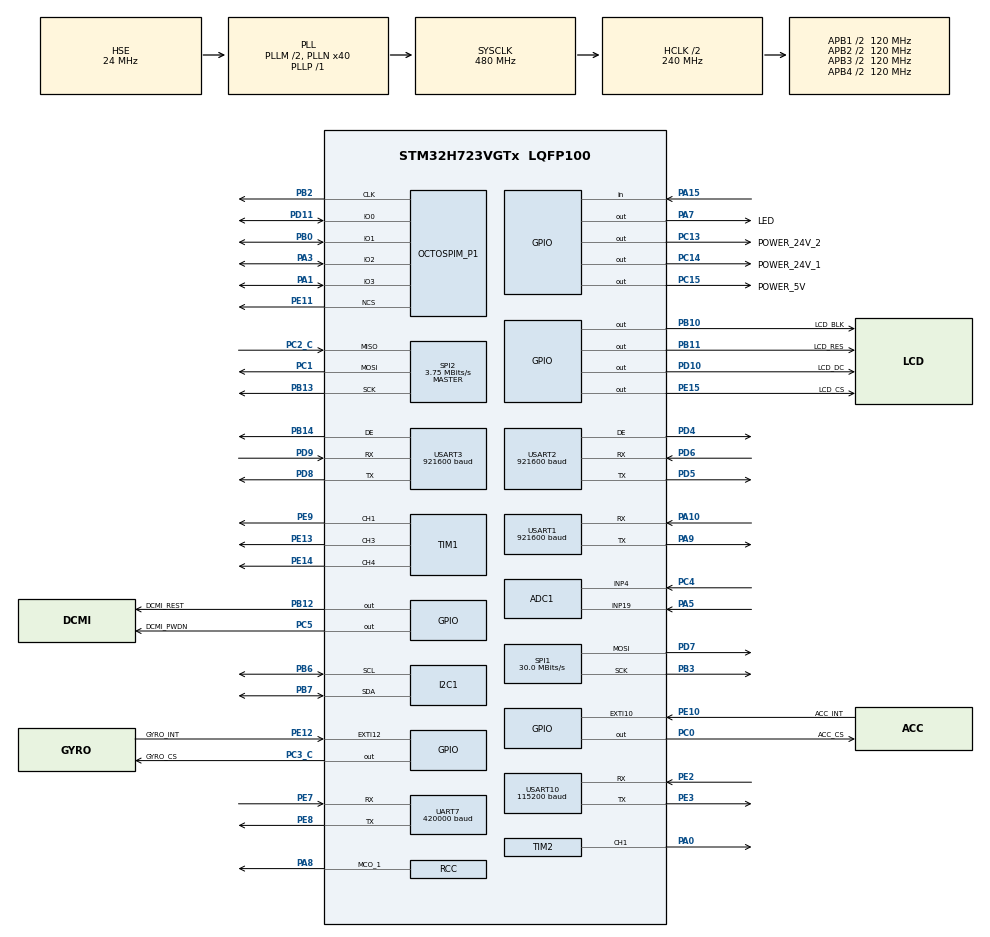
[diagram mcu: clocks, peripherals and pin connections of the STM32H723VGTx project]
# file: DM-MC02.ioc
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ADC1.Channel-0\#ChannelRegularConversion=ADC_CHANNEL_19
ADC1.NbrOfConversionFlag=1
ADC1.OffsetNumber-0\#ChannelRegularConversion=ADC_OFFSET_NONE
ADC1.OffsetSignedSaturation-0\#ChannelRegularConversion=DISABLE
ADC1.Rank-0\#ChannelRegularConversion=1
ADC1.SamplingTime-0\#ChannelRegularConversion=ADC_SAMPLETIME_1CYCLE_5
ADC1.master=1
CORTEX_M7.BaseAddress-Cortex_Memory_Protection_Unit_Region0_Settings=0x24000000
CORTEX_M7.CPU_DCache=Disabled
CORTEX_M7.CPU_ICache=Disabled
CORTEX_M7.Enable-Cortex_Memory_Protection_Unit_Region0_Settings=MPU_REGION_ENABLE
CORTEX_M7.IsBufferable-Cortex_Memory_Protection_Unit_Region0_Settings=MPU_ACCESS_BUFFERABLE
CORTEX_M7.IsCacheable-Cortex_Memory_Protection_Unit_Region0_Settings=MPU_ACCESS_CACHEABLE
CORTEX_M7.MPU_Control=__NULL
CORTEX_M7.Size-Cortex_Memory_Protection_Unit_Region0_Settings=MPU_REGION_SIZE_512B
CORTEX_M7.TypeExtField-Cortex_Memory_Protection_Unit_Region0_Settings=MPU_TEX_LEVEL1
Dma.ADC1.3.Direction=DMA_PERIPH_TO_MEMORY
Dma.ADC1.3.EventEnable=DISABLE
Dma.ADC1.3.FIFOMode=DMA_FIFOMODE_DISABLE
Dma.ADC1.3.Instance=DMA1_Stream0
Dma.ADC1.3.MemDataAlignment=DMA_MDATAALIGN_HALFWORD
Dma.ADC1.3.MemInc=DMA_MINC_ENABLE
Dma.ADC1.3.Mode=DMA_CIRCULAR
Dma.ADC1.3.PeriphDataAlignment=DMA_PDATAALIGN_HALFWORD
Dma.ADC1.3.PeriphInc=DMA_PINC_DISABLE
Dma.ADC1.3.Polarity=HAL_DMAMUX_REQ_GEN_RISING
Dma.ADC1.3.Priority=DMA_PRIORITY_LOW
Dma.ADC1.3.RequestNumber=1
Dma.ADC1.3.SignalID=NONE
Dma.ADC1.3.SyncEnable=DISABLE
Dma.ADC1.3.SyncPolarity=HAL_DMAMUX_SYNC_NO_EVENT
Dma.ADC1.3.SyncRequestNumber=1
Dma.ADC1.3.SyncSignalID=NONE
Dma.Request0=UART7_RX
Dma.Request1=USART2_RX
Dma.Request2=USART3_RX
Dma.Request3=ADC1
Dma.UART7_RX.0.Direction=DMA_PERIPH_TO_MEMORY
Dma.UART7_RX.0.EventEnable=DISABLE
Dma.UART7_RX.0.FIFOMode=DMA_FIFOMODE_DISABLE
Dma.UART7_RX.0.Instance=DMA1_Stream1
Dma.UART7_RX.0.MemDataAlignment=DMA_MDATAALIGN_BYTE
Dma.UART7_RX.0.MemInc=DMA_MINC_ENABLE
Dma.UART7_RX.0.Mode=DMA_CIRCULAR
Dma.UART7_RX.0.PeriphDataAlignment=DMA_PDATAALIGN_BYTE
Dma.UART7_RX.0.PeriphInc=DMA_PINC_DISABLE
Dma.UART7_RX.0.Polarity=HAL_DMAMUX_REQ_GEN_RISING
Dma.UART7_RX.0.Priority=DMA_PRIORITY_LOW
Dma.UART7_RX.0.RequestNumber=1
Dma.UART7_RX.0.SignalID=NONE
Dma.UART7_RX.0.SyncEnable=DISABLE
Dma.UART7_RX.0.SyncPolarity=HAL_DMAMUX_SYNC_NO_EVENT
Dma.UART7_RX.0.SyncRequestNumber=1
Dma.UART7_RX.0.SyncSignalID=NONE
Dma.USART2_RX.1.Direction=DMA_PERIPH_TO_MEMORY
Dma.USART2_RX.1.EventEnable=DISABLE
Dma.USART2_RX.1.FIFOMode=DMA_FIFOMODE_DISABLE
Dma.USART2_RX.1.Instance=DMA1_Stream2
Dma.USART2_RX.1.MemDataAlignment=DMA_MDATAALIGN_BYTE
Dma.USART2_RX.1.MemInc=DMA_MINC_ENABLE
Dma.USART2_RX.1.Mode=DMA_CIRCULAR
Dma.USART2_RX.1.PeriphDataAlignment=DMA_PDATAALIGN_BYTE
Dma.USART2_RX.1.PeriphInc=DMA_PINC_DISABLE
Dma.USART2_RX.1.Polarity=HAL_DMAMUX_REQ_GEN_RISING
Dma.USART2_RX.1.Priority=DMA_PRIORITY_LOW
Dma.USART2_RX.1.RequestNumber=1
Dma.USART2_RX.1.SignalID=NONE
Dma.USART2_RX.1.SyncEnable=DISABLE
Dma.USART2_RX.1.SyncPolarity=HAL_DMAMUX_SYNC_NO_EVENT
Dma.USART2_RX.1.SyncRequestNumber=1
Dma.USART2_RX.1.SyncSignalID=NONE
Dma.USART3_RX.2.Direction=DMA_PERIPH_TO_MEMORY
Dma.USART3_RX.2.EventEnable=DISABLE
Dma.USART3_RX.2.FIFOMode=DMA_FIFOMODE_DISABLE
Dma.USART3_RX.2.Instance=DMA1_Stream3
Dma.USART3_RX.2.MemDataAlignment=DMA_MDATAALIGN_BYTE
Dma.USART3_RX.2.MemInc=DMA_MINC_ENABLE
Dma.USART3_RX.2.Mode=DMA_CIRCULAR
Dma.USART3_RX.2.PeriphDataAlignment=DMA_PDATAALIGN_BYTE
Dma.USART3_RX.2.PeriphInc=DMA_PINC_DISABLE
Dma.USART3_RX.2.Polarity=HAL_DMAMUX_REQ_GEN_RISING
Dma.USART3_RX.2.Priority=DMA_PRIORITY_LOW
Dma.USART3_RX.2.RequestNumber=1
Dma.USART3_RX.2.SignalID=NONE
Dma.USART3_RX.2.SyncEnable=DISABLE
Dma.USART3_RX.2.SyncPolarity=HAL_DMAMUX_SYNC_NO_EVENT
Dma.USART3_RX.2.SyncRequestNumber=1
Dma.USART3_RX.2.SyncSignalID=NONE
I2C1.Timing=0x307075B1
Mcu.Family=STM32H7
Mcu.Name=STM32H723VGTx
Mcu.Package=LQFP100
NVIC.DMA1_Stream0_IRQn=true\:0\:0\:false\:false\:true\:false\:true\:true
NVIC.DMA1_Stream1_IRQn=true\:5\:0\:false\:false\:true\:true\:false\:true
NVIC.DMA1_Stream2_IRQn=true\:5\:0\:false\:false\:true\:true\:false\:true
NVIC.DMA1_Stream3_IRQn=true\:5\:0\:false\:false\:true\:true\:false\:true
NVIC.PriorityGroup=NVIC_PRIORITYGROUP_4
NVIC.TIM23_IRQn=true\:15\:0\:false\:false\:true\:false\:false\:true
NVIC.TimeBase=TIM23_IRQn
NVIC.TimeBaseIP=TIM23
NVIC.UART7_IRQn=true\:5\:0\:true\:false\:true\:false\:true\:true
NVIC.USART10_IRQn=true\:5\:0\:true\:false\:true\:false\:true\:true
NVIC.USART1_IRQn=true\:5\:0\:true\:false\:true\:false\:true\:true
NVIC.USART2_IRQn=true\:5\:0\:true\:false\:true\:false\:true\:true
NVIC.USART3_IRQn=true\:5\:0\:true\:false\:true\:false\:true\:true
OCTOSPI2.ClockMode=HAL_OSPI_CLOCK_MODE_3
OCTOSPI2.ClockPrescaler=3
OCTOSPI2.DeviceSize=23
OCTOSPI2.DeviceType=SPI_DEVICE_FLASH
OCTOSPI2.FifoThreshold=8
OCTOSPI2.SampleShifting=HAL_OSPI_SAMPLE_SHIFTING_HALFCYCLE
PA0.Signal=S_TIM2_CH1_ETR
PA1.Mode=OCTOSPI2_IOL_Port1L
PA1.Signal=OCTOSPIM_P1_IO3
PA10.Mode=Asynchronous
PA10.Signal=USART1_RX
PA13(JTMS/SWDIO).Mode=Serial_Wire
PA13(JTMS/SWDIO).Signal=DEBUG_JTMS-SWDIO
PA14(JTCK/SWCLK).Mode=Serial_Wire
PA14(JTCK/SWCLK).Signal=DEBUG_JTCK-SWCLK
PA15(JTDI).Signal=GPIO_Input
PA3.Mode=OCTOSPI2_IOL_Port1L
PA3.Signal=OCTOSPIM_P1_IO2
PA5.Signal=ADCx_INP19
PA7.GPIO_Label=LED
PA7.Signal=GPIO_Output
PA8.Mode=Clock-out-1
PA8.Signal=RCC_MCO_1
PA9.Mode=Asynchronous
PA9.Signal=USART1_TX
PB0.Mode=OCTOSPI2_IOL_Port1L
PB0.Signal=OCTOSPIM_P1_IO1
PB10.GPIO_Label=LCD_BLK
PB10.Signal=GPIO_Output
PB11.GPIO_Label=LCD_RES
PB11.Signal=GPIO_Output
PB12.GPIO_Label=DCMI_REST
PB12.GPIO_PuPd=GPIO_PULLUP
PB12.GPIO_Speed=GPIO_SPEED_FREQ_VERY_HIGH
PB12.PinState=GPIO_PIN_SET
PB12.Signal=GPIO_Output
PB13.GPIO_Speed=GPIO_SPEED_FREQ_VERY_HIGH
PB13.Mode=Full_Duplex_Master
PB13.Signal=SPI2_SCK
PB14.Mode=Hardware Flow Control (RS485)
PB14.Signal=USART3_DE
PB2.Mode=O2_P1_CLK
PB2.Signal=OCTOSPIM_P1_CLK
PB3(JTDO/TRACESWO).GPIO_Speed=GPIO_SPEED_FREQ_VERY_HIGH
PB3(JTDO/TRACESWO).Mode=TX_Only_Simplex_Unidirect_Master
PB3(JTDO/TRACESWO).Signal=SPI1_SCK
PB6.Mode=I2C
PB6.Signal=I2C1_SCL
PB7.Mode=I2C
PB7.Signal=I2C1_SDA
PC0.GPIO_Label=ACC_CS
PC0.GPIO_Speed=GPIO_SPEED_FREQ_VERY_HIGH
PC0.PinState=GPIO_PIN_SET
PC0.Signal=GPIO_Output
PC1.GPIO_Speed=GPIO_SPEED_FREQ_VERY_HIGH
PC1.Mode=Full_Duplex_Master
PC1.Signal=SPI2_MOSI
PC13.GPIO_Label=POWER_24V_2
PC13.PinState=GPIO_PIN_SET
PC13.Signal=GPIO_Output
PC14-OSC32_IN.GPIO_Label=POWER_24V_1
PC14-OSC32_IN.PinState=GPIO_PIN_SET
PC14-OSC32_IN.Signal=GPIO_Output
PC15-OSC32_OUT.GPIO_Label=POWER_5V
PC15-OSC32_OUT.PinState=GPIO_PIN_SET
PC15-OSC32_OUT.Signal=GPIO_Output
PC2_C.GPIO_Speed=GPIO_SPEED_FREQ_VERY_HIGH
PC2_C.Mode=Full_Duplex_Master
PC2_C.Signal=SPI2_MISO
PC3_C.GPIO_Label=GYRO_CS
PC3_C.GPIO_Speed=GPIO_SPEED_FREQ_VERY_HIGH
PC3_C.PinState=GPIO_PIN_SET
PC3_C.Signal=GPIO_Output
PC4.Signal=ADCx_INP4
PC5.GPIO_Label=DCMI_PWDN
PC5.GPIO_PuPd=GPIO_NOPULL
PC5.GPIO_Speed=GPIO_SPEED_FREQ_VERY_HIGH
PC5.PinState=GPIO_PIN_SET
PC5.Signal=GPIO_Output
PD10.GPIO_Label=LCD_DC
PD10.Signal=GPIO_Output
PD11.Mode=OCTOSPI2_IOL_Port1L
PD11.Signal=OCTOSPIM_P1_IO0
PD4.Mode=Hardware Flow Control (RS485)
PD4.Signal=USART2_DE
PD5.Mode=Asynchronous
PD5.Signal=USART2_TX
PD6.Mode=Asynchronous
PD6.Signal=USART2_RX
PD7.GPIO_Speed=GPIO_SPEED_FREQ_VERY_HIGH
PD7.Mode=TX_Only_Simplex_Unidirect_Master
PD7.Signal=SPI1_MOSI
PD8.Mode=Asynchronous
PD8.Signal=USART3_TX
PD9.Mode=Asynchronous
PD9.Signal=USART3_RX
PE10.GPIO_Label=ACC_INT
PE10.Signal=GPXTI10
PE11.Mode=OCTOSPI2_Port1_NCS
PE11.Signal=OCTOSPIM_P1_NCS
PE12.GPIO_Label=GYRO_INT
PE12.Signal=GPXTI12
PE13.Signal=S_TIM1_CH3
PE14.Signal=S_TIM1_CH4
PE15.GPIO_Label=LCD_CS
PE15.Signal=GPIO_Output
PE2.Mode=Asynchronous
PE2.Signal=USART10_RX
PE3.Mode=Asynchronous
PE3.Signal=USART10_TX
PE7.Mode=Asynchronous
PE7.Signal=UART7_RX
PE8.Mode=Asynchronous
PE8.Signal=UART7_TX
PE9.Signal=S_TIM1_CH1
PH0-OSC_IN.Mode=HSE-External-Oscillator
PH0-OSC_IN.Signal=RCC_OSC_IN
PH1-OSC_OUT.Mode=HSE-External-Oscillator
PH1-OSC_OUT.Signal=RCC_OSC_OUT
ProjectManager.HeapSize=0x200
ProjectManager.StackSize=0x800
ProjectManager.TargetToolchain=CMake
RCC.ADCFreq_Value=96000000
RCC.APB1Freq_Value=120000000
RCC.APB2Freq_Value=120000000
RCC.APB3Freq_Value=120000000
RCC.APB4Freq_Value=120000000
RCC.CortexFreq_Value=480000000
RCC.D1PPRE=RCC_APB3_DIV2
RCC.D2PPRE1=RCC_APB1_DIV2
RCC.D2PPRE2=RCC_APB2_DIV2
RCC.D3PPRE=RCC_APB4_DIV2
RCC.DIVM1=2
RCC.DIVM2=2
RCC.DIVN1=40
RCC.DIVN2=16
RCC.DIVP1=1
RCC.DIVQ1=4
RCC.EnbaleCSS=false
RCC.HCLKFreq_Value=240000000
RCC.HPRE=RCC_HCLK_DIV2
RCC.HSE_VALUE=24000000
RCC.PLL2FRACN=0
RCC.PLL2_VCI_Range-AdvancedSettings=RCC_PLL2VCIRANGE_0
RCC.PLL2_VCO_SEL-AdvancedSettings=RCC_PLL2VCOWIDE
RCC.PLL3FRACN=0
RCC.PLL3_VCO_SEL-AdvancedSettings=RCC_PLL3VCOMEDIUM
RCC.PLLFRACN=0
RCC.PLLSourceVirtual=RCC_PLLSOURCE_HSE
RCC.SPI6CLockSelection=RCC_SPI6CLKSOURCE_HSE
RCC.SYSCLKFreq_VALUE=480000000
RCC.SYSCLKSource=RCC_SYSCLKSOURCE_PLLCLK
RCC.USBCLockSelection=RCC_USBCLKSOURCE_HSI48
RCC.USBFreq_Value=48000000
SH.ADCx_INP19.0=ADC1_INP19,IN19-Single-Ended
SH.ADCx_INP4.0=ADC1_INP4,IN4-Single-Ended
SH.S_TIM1_CH1.0=TIM1_CH1,PWM Generation1 CH1
SH.S_TIM1_CH3.0=TIM1_CH3,PWM Generation3 CH3
SH.S_TIM1_CH4.0=TIM1_CH4,PWM Generation4 CH4
SH.S_TIM2_CH1_ETR.0=TIM2_CH1,PWM Generation1 CH1
SPI1.BaudRatePrescaler=SPI_BAUDRATEPRESCALER_4
SPI1.CLKPolarity=SPI_POLARITY_HIGH
SPI1.CalculateBaudRate=30.0 MBits/s
SPI1.DataSize=SPI_DATASIZE_8BIT
SPI1.Direction=SPI_DIRECTION_2LINES_TXONLY
SPI1.Mode=SPI_MODE_MASTER
SPI1.VirtualType=VM_MASTER
SPI2.BaudRatePrescaler=SPI_BAUDRATEPRESCALER_32
SPI2.CLKPhase=SPI_PHASE_2EDGE
SPI2.CLKPolarity=SPI_POLARITY_HIGH
SPI2.CalculateBaudRate=3.75 MBits/s
SPI2.DataSize=SPI_DATASIZE_8BIT
SPI2.Direction=SPI_DIRECTION_2LINES
SPI2.Mode=SPI_MODE_MASTER
SPI2.VirtualType=VM_MASTER
TIM1.Channel-PWM\ Generation1\ CH1=TIM_CHANNEL_1
TIM1.Channel-PWM\ Generation3\ CH3=TIM_CHANNEL_3
TIM1.Channel-PWM\ Generation4\ CH4=TIM_CHANNEL_4
TIM1.MasterOutputTrigger=TIM_TRGO_UPDATE
TIM2.Channel-PWM\ Generation1\ CH1=TIM_CHANNEL_1
UART7.BaudRate=420000
USART1.BaudRate=921600
USART1.VirtualMode-Asynchronous=VM_ASYNC
USART10.BaudRate=115200
USART10.VirtualMode=VM_ASYNC
USART2.BaudRate=921600
USART2.VirtualMode-Asynchronous=VM_ASYNC
USART2.VirtualMode-Hardware\ Flow\ Control\ (RS485)=VM_ASYNC
USART3.BaudRate=921600
USART3.VirtualMode-Asynchronous=VM_ASYNC
USART3.VirtualMode-Hardware\ Flow\ Control\ (RS485)=VM_ASYNC
VP_MEMORYMAP_VS_MEMORYMAP.Mode=CurAppReg
VP_OCTOSPI2_VS_quad.Mode=quad_mode
VP_SYS_VS_tim23.Mode=TIM23
VP_TIM1_VS_ClockSourceINT.Mode=Internal
VP_TIM2_VS_ClockSourceINT.Mode=Internal
board=custom

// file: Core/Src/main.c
/* USER CODE BEGIN Header */
/**
  ******************************************************************************
  * @file           : main.c
  * @brief          : Main program body
  ******************************************************************************
  * @attention
  *
  * Copyright (c) 2026 STMicroelectronics.
  * All rights reserved.
  *
  * This software is licensed under terms that can be found in the LICENSE file
  * in the root directory of this software component.
  * If no LICENSE file comes with this software, it is provided AS-IS.
  *
  ******************************************************************************
  */
/* USER CODE END Header */
#include "main.h"
#include "adc.h"
#include "dma.h"
#include "i2c.h"
#include "octospi.h"
#include "spi.h"
#include "tim.h"
#include "usart.h"
#include "gpio.h"

/* USER CODE BEGIN Includes */
#include "crsf_task.h"
#include "motor_control_task.h"
#include "oled_debug.h"
#include "vofa_debug.h"

/* USER CODE END Includes */

/* USER CODE BEGIN PD */

#define CONTROL_LOOP_HZ                10000U
#define CRSF_PROCESS_PERIOD_MS         1U
#define OLED_PROCESS_PERIOD_MS          100U

/* USER CODE END PD */

/* USER CODE BEGIN PV */
volatile uint32_t g_boot_stage = 0U;
static uint32_t s_control_loop_step_cycles = 0U;
static uint32_t s_last_control_cycle = 0U;
static uint32_t s_last_crsf_process_tick = 0U;
static uint32_t s_last_oled_process_tick = 0U;

/* USER CODE END PV */

void SystemClock_Config(void);
/* USER CODE BEGIN PFP */
static void AppScheduler_Init(void);

/* USER CODE END PFP */

/* USER CODE BEGIN 0 */

static void AppScheduler_Init(void)
{
  /* Enable DWT cycle counter for 100us-level bare-metal scheduling. */
  CoreDebug->DEMCR |= CoreDebug_DEMCR_TRCENA_Msk;
  DWT->CTRL |= DWT_CTRL_CYCCNTENA_Msk;
  DWT->CYCCNT = 0U;

  s_control_loop_step_cycles = SystemCoreClock / CONTROL_LOOP_HZ;
  if (s_control_loop_step_cycles == 0U)
  {
    s_control_loop_step_cycles = 1U;
  }

  s_last_control_cycle = DWT->CYCCNT;
  s_last_crsf_process_tick = HAL_GetTick();
  s_last_oled_process_tick = HAL_GetTick();
}

/* USER CODE END 0 */

int main(void)
{

  /* MCU Configuration--------------------------------------------------------*/

  /* Reset of all peripherals, Initializes the Flash interface and the Systick. */
  HAL_Init();

  /* Configure the system clock */
  SystemClock_Config();

  /* Initialize all configured peripherals */
  MX_GPIO_Init();
  MX_DMA_Init();
  MX_SPI1_Init();
  MX_SPI2_Init();
  MX_USART1_UART_Init();
  MX_USART2_UART_Init();
  MX_USART3_UART_Init();
  MX_UART7_Init();
  MX_USART10_UART_Init();
  MX_OCTOSPI2_Init();
  MX_ADC1_Init();
  MX_I2C1_Init();
  MX_TIM1_Init();
  MX_TIM2_Init();
  /* USER CODE BEGIN 2 */

  AppScheduler_Init();

  g_boot_stage = 20U;
  CRSFTask_Init();
  g_boot_stage = 21U;
  MotorControlTask_Init();
  g_boot_stage = 22U;
  VofaDebug_Init();
  g_boot_stage = 23U;
  OledDebug_Init();

  g_boot_stage = 24U;

  /* USER CODE END 2 */

  /* Infinite loop */
  while (1)
  {

    /* USER CODE BEGIN 3 */
    uint32_t now_cycle = DWT->CYCCNT;
    if ((uint32_t)(now_cycle - s_last_control_cycle) >= s_control_loop_step_cycles)
    {
      s_last_control_cycle += s_control_loop_step_cycles;
      MotorControlTask_Process(NULL);
    }

    if ((HAL_GetTick() - s_last_crsf_process_tick) >= CRSF_PROCESS_PERIOD_MS)
    {
      s_last_crsf_process_tick = HAL_GetTick();
      CRSFTask_Process(NULL);
    }

    if ((HAL_GetTick() - s_last_oled_process_tick) >= OLED_PROCESS_PERIOD_MS)
    {
      s_last_oled_process_tick = HAL_GetTick();
      OledDebug_Process();
    }

    VofaDebug_Process();
  }
  /* USER CODE END 3 */
}

void SystemClock_Config(void)
{
  RCC_OscInitTypeDef RCC_OscInitStruct = {0};
  RCC_ClkInitTypeDef RCC_ClkInitStruct = {0};

  /** Supply configuration update enable
  */
  HAL_PWREx_ConfigSupply(PWR_LDO_SUPPLY);

  /** Configure the main internal regulator output voltage
  */
  __HAL_PWR_VOLTAGESCALING_CONFIG(PWR_REGULATOR_VOLTAGE_SCALE0);

  while(!__HAL_PWR_GET_FLAG(PWR_FLAG_VOSRDY)) {}

  /** Initializes the RCC Oscillators according to the specified parameters
  * in the RCC_OscInitTypeDef structure.
  */
  RCC_OscInitStruct.OscillatorType = RCC_OSCILLATORTYPE_HSI|RCC_OSCILLATORTYPE_HSE;
  RCC_OscInitStruct.HSEState = RCC_HSE_ON;
  RCC_OscInitStruct.HSIState = RCC_HSI_DIV1;
  RCC_OscInitStruct.HSICalibrationValue = 64;
  RCC_OscInitStruct.PLL.PLLState = RCC_PLL_ON;
  RCC_OscInitStruct.PLL.PLLSource = RCC_PLLSOURCE_HSE;
  RCC_OscInitStruct.PLL.PLLM = 2;
  RCC_OscInitStruct.PLL.PLLN = 40;
  RCC_OscInitStruct.PLL.PLLP = 1;
  RCC_OscInitStruct.PLL.PLLQ = 4;
  RCC_OscInitStruct.PLL.PLLR = 2;
  RCC_OscInitStruct.PLL.PLLRGE = RCC_PLL1VCIRANGE_3;
  RCC_OscInitStruct.PLL.PLLVCOSEL = RCC_PLL1VCOWIDE;
  RCC_OscInitStruct.PLL.PLLFRACN = 0;
  if (HAL_RCC_OscConfig(&RCC_OscInitStruct) != HAL_OK)
  {
    Error_Handler();
  }

  /** Initializes the CPU, AHB and APB buses clocks
  */
  RCC_ClkInitStruct.ClockType = RCC_CLOCKTYPE_HCLK|RCC_CLOCKTYPE_SYSCLK
                              |RCC_CLOCKTYPE_PCLK1|RCC_CLOCKTYPE_PCLK2
                              |RCC_CLOCKTYPE_D3PCLK1|RCC_CLOCKTYPE_D1PCLK1;
  RCC_ClkInitStruct.SYSCLKSource = RCC_SYSCLKSOURCE_PLLCLK;
  RCC_ClkInitStruct.SYSCLKDivider = RCC_SYSCLK_DIV1;
  RCC_ClkInitStruct.AHBCLKDivider = RCC_HCLK_DIV2;
  RCC_ClkInitStruct.APB3CLKDivider = RCC_APB3_DIV2;
  RCC_ClkInitStruct.APB1CLKDivider = RCC_APB1_DIV2;
  RCC_ClkInitStruct.APB2CLKDivider = RCC_APB2_DIV2;
  RCC_ClkInitStruct.APB4CLKDivider = RCC_APB4_DIV2;

  if (HAL_RCC_ClockConfig(&RCC_ClkInitStruct, FLASH_LATENCY_3) != HAL_OK)
  {
    Error_Handler();
  }
  HAL_RCC_MCOConfig(RCC_MCO1, RCC_MCO1SOURCE_HSI, RCC_MCODIV_1);
}

void HAL_TIM_PeriodElapsedCallback(TIM_HandleTypeDef *htim)
{
  if (htim->Instance == TIM23)
  {
    HAL_IncTick();
  }
}

void Error_Handler(void)
{
  __disable_irq();
  while (1)
  {
  }
}
